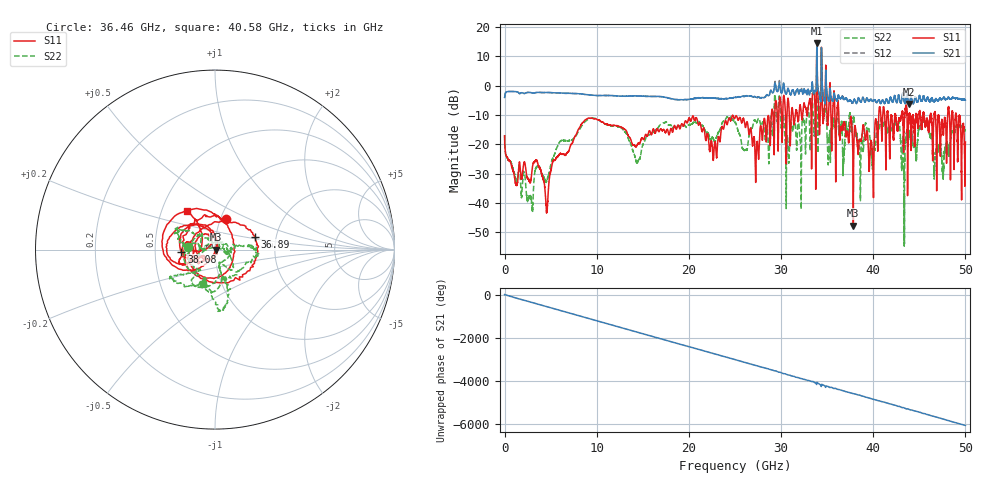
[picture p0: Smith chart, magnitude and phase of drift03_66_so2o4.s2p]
!Created with skrf (http://scikit-rf.org).
# Hz S RI R 50.0
!freq ReS11 ImS11 ReS21 ImS21 ReS12 ImS12 ReS22 ImS22
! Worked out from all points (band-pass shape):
!   10001 points, 300 kHz to 50 GHz, reference 50 ohm
!   highest |S21| = 14.45 dB at 33.88 GHz (marker M1); lowest = -6.3 dB at 43.91 GHz (marker M2)
!   |S21| within 3 dB of the highest: 33.869 GHz to 33.88834 GHz (19.34 MHz wide, 0.0571 % of centre); 34.37674 GHz to 34.38905 GHz (12.31 MHz wide, 0.0358 % of centre)
!   lowest |S11| = -47.7 dB at 37.84 GHz (marker M3), VSWR 1.01, Z = 50.4 - j0.0136 ohm
!   |S11| at or under -10 dB: start of sweep to 28.94 GHz; 36.26 GHz to 40.6 GHz (4.336 GHz wide, 11.3 % of centre); 47.07 GHz to 48.08 GHz (1.006 GHz wide, 2.12 % of centre) (the widest 3 of 55)
!   |S22| runs from -54.7 to 11.2 dB; largest |S21 - S12| = 0.8
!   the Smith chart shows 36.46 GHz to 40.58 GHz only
!   S11 on the Smith chart (normalised r, x): 36.46 GHz: 1.06, +0.38; 36.89 GHz: 1.55, +0.23; 38.08 GHz: 0.68, -0.02; 40.58 GHz: 0.68, +0.31
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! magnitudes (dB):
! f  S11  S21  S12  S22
! 300 kHz  -17.1  -4.0  -4.1  -16.8
! 2.82 GHz  -32.7  -2.4  -2.4  -37.9
! 4.555 GHz  -43.4  -2.3  -2.3  -32.4
! 8.335 GHz  -13.1  -2.8  -2.8  -13.9
! 14.44 GHz  -19.9  -3.5  -3.5  -26.1
! 16.67 GHz  -15.4  -3.7  -3.7  -14.3
! 22.82 GHz  -19.3  -4.3  -4.3  -19.1
! 25 GHz  -11.0  -4.0  -4.0  -12.5
! 27.39 GHz  -19.4  -4.1  -4.1  -12.4
! 29.6 GHz  -10.5  -2.0  -2.1  -11.7
! 30.7 GHz  -5.7  -1.4  -1.5  -17.3
! 33.34 GHz  -14.1  -0.3  -0.4  -6.9
! 33.88 GHz  15.4  14.5  14.1  11.0
! 36.46 GHz  -14.8  -4.4  -4.4  -16.3
! 36.89 GHz  -12.7  -4.6  -4.6  -20.6
! 37.84 GHz  -47.7  -5.4  -5.5  -11.2
! 38.08 GHz  -14.5  -5.6  -5.4  -16.5
! 39.81 GHz  -19.2  -4.9  -4.8  -23.2
! 40.58 GHz  -11.6  -4.9  -4.9  -13.8
! 41.67 GHz  -12.2  -5.9  -5.9  -15.3
! 43.91 GHz  -10.0  -6.3  -6.1  -17.4
! 50 GHz  -19.2  -4.9  -4.9  -15.1
